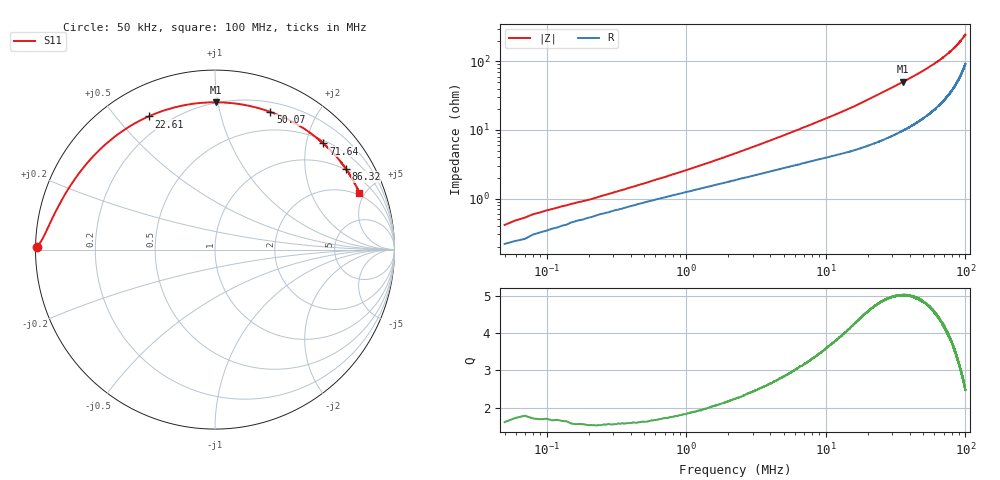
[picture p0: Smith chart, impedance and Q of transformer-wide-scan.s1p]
# HZ S RI R 50
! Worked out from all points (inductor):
!   10100 points, 50 kHz to 100 MHz, reference 50 ohm
!   read as one part to ground: L = 229 nH near 5.939 MHz
!   highest Q = 5.03 at 35.83 MHz (marker M1), where L = 219 nH
!   S11 on the Smith chart (normalised r, x): 50 kHz: 0.00, +0.01; 22.61 MHz: 0.13, +0.61; 50.07 MHz: 0.30, +1.44; 71.64 MHz: 0.56, +2.34; 86.32 MHz: 0.96, +3.26; 100 MHz: 1.84, +4.55
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50000  -0.9912 0.0139
950600  -0.9492 0.0836
2227294  -0.9164 0.1529
3583191  -0.8855 0.2167
5156785  -0.8496 0.2834
8729576  -0.7655 0.414
1.254986e7  -0.6698 0.5289
1.504396e7  -0.6046 0.5915
1.799325e7  -0.5137 0.6616
2.026954e7  -0.4425 0.7057
2.260523e7  -0.3698 0.742
2.503992e7  -0.2951 0.7714
2.739532e7  -0.2247 0.7924
3.016651e7  -0.1453 0.809
3.58276e7  0.00547 0.8207
3.753979e7  0.0475 0.8195
4.376497e7  0.1869 0.8014
5.002985e7  0.3077 0.7673
5.006935e7  0.3082 0.7671
5.645293e7  0.4133 0.7218
6.251982e7  0.4986 0.6725
7.164488e7  0.6042 0.5912
7.501978e7  0.6371 0.5591
8.057186e7  0.686 0.5071
8.632204e7  0.7284 0.4502
8.750974e7  0.7357 0.4395
9.505121e7  0.78 0.3658
9.99997e7  0.8028 0.3161
